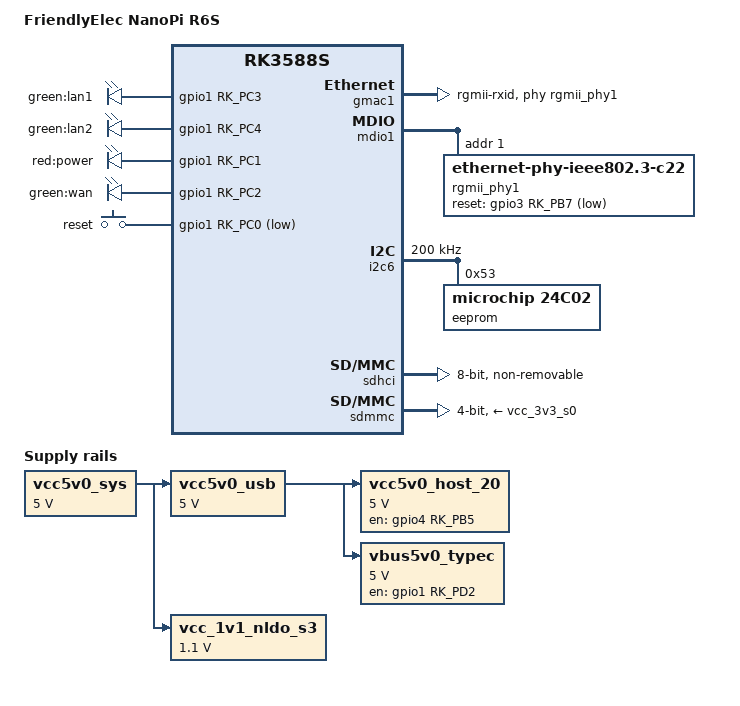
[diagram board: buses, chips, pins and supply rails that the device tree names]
// SPDX-License-Identifier: GPL-2.0-or-later OR MIT
/*
 * Copyright (c) 2021 Rockchip Electronics Co., Ltd.
 *
 * Copyright (c) 2022 FriendlyElec Computer Tech. Co., Ltd.
 * (http://www.friendlyelec.com)
 *
 * Copyright (c) 2023 Tianling Shen <cnsztl@immortalwrt.org>
 */

/dts-v1/;

#include <dt-bindings/gpio/gpio.h>
#include <dt-bindings/input/input.h>
#include <dt-bindings/leds/common.h>
#include <dt-bindings/pinctrl/rockchip.h>
#include "rk3588s.dtsi"
#include "rk3588-rk806-single.dtsi"

/ {
	model = "FriendlyElec NanoPi R6S";
	compatible = "friendlyarm,nanopi-r6s", "rockchip,rk3588s";

	aliases {
		mmc0 = &sdmmc;
		mmc1 = &sdhci;
		ethernet0 = &gmac1;

		led-boot = &power_led;
		led-failsafe = &power_led;
		led-running = &power_led;
		led-upgrade = &power_led;
	};

	chosen {
		stdout-path = "serial2:1500000n8";
	};

	gpio-leds {
		compatible = "gpio-leds";
		pinctrl-names = "default";
		pinctrl-0 = <&lan1_led_pin>, <&lan2_led_pin>, <&power_led_pin>, <&wan_led_pin>;

		led-lan1 {
			label = "green:lan1";
			gpios = <&gpio1 RK_PC3 GPIO_ACTIVE_HIGH>;
		};

		led-lan2 {
			label = "green:lan2";
			gpios = <&gpio1 RK_PC4 GPIO_ACTIVE_HIGH>;
		};

		power_led: led-power {
			label = "red:power";
			gpios = <&gpio1 RK_PC1 GPIO_ACTIVE_HIGH>;
		};

		led-wan {
			label = "green:wan";
			gpios = <&gpio1 RK_PC2 GPIO_ACTIVE_HIGH>;
		};
	};

	gpio-keys {
		compatible = "gpio-keys";
		pinctrl-names = "default";
		pinctrl-0 = <&reset_button_pin>;

		button-reset {
			debounce-interval = <50>;
			gpios = <&gpio1 RK_PC0 GPIO_ACTIVE_LOW>;
			label = "reset";
			linux,code = <KEY_RESTART>;
		};
	};

	vcc5v0_sys: vcc5v0-sys-regulator {
		compatible = "regulator-fixed";
		regulator-name = "vcc5v0_sys";
		regulator-always-on;
		regulator-boot-on;
		regulator-min-microvolt = <5000000>;
		regulator-max-microvolt = <5000000>;
	};

	vcc5v0_usb: vcc5v0-usb-regulator {
		compatible = "regulator-fixed";
		regulator-name = "vcc5v0_usb";
		regulator-always-on;
		regulator-boot-on;
		regulator-min-microvolt = <5000000>;
		regulator-max-microvolt = <5000000>;
		vin-supply = <&vcc5v0_sys>;
	};

	vcc5v0_host_20: vcc5v0-host-20-regulator {
		compatible = "regulator-fixed";
		enable-active-high;
		gpio = <&gpio4 RK_PB5 GPIO_ACTIVE_HIGH>;
		pinctrl-names = "default";
		pinctrl-0 = <&vcc5v0_host20_en>;
		regulator-name = "vcc5v0_host_20";
		regulator-min-microvolt = <5000000>;
		regulator-max-microvolt = <5000000>;
		vin-supply = <&vcc5v0_usb>;
	};

	vbus5v0_typec: vbus5v0-typec-regulator {
		compatible = "regulator-fixed";
		enable-active-high;
		gpio = <&gpio1 RK_PD2 GPIO_ACTIVE_HIGH>;
		pinctrl-names = "default";
		pinctrl-0 = <&vbus5v0_typec_en>;
		regulator-name = "vbus5v0_typec";
		regulator-min-microvolt = <5000000>;
		regulator-max-microvolt = <5000000>;
		vin-supply = <&vcc5v0_usb>;
	};

	vcc_1v1_nldo_s3: vcc-1v1-nldo-s3-regulator {
		compatible = "regulator-fixed";
		regulator-name = "vcc_1v1_nldo_s3";
		regulator-always-on;
		regulator-boot-on;
		regulator-min-microvolt = <1100000>;
		regulator-max-microvolt = <1100000>;
		vin-supply = <&vcc5v0_sys>;
	};
};

&gmac1 {
	clock_in_out = "output";
	phy-handle = <&rgmii_phy1>;
	phy-mode = "rgmii-rxid";
	pinctrl-0 = <&gmac1_miim
		     &gmac1_tx_bus2
		     &gmac1_rx_bus2
		     &gmac1_rgmii_clk
		     &gmac1_rgmii_bus>;
	pinctrl-names = "default";
	tx_delay = <0x42>;
	rx_delay = <0x4f>;
	status = "okay";
};

&mdio1 {
	rgmii_phy1: phy@1 {
		compatible = "ethernet-phy-ieee802.3-c22";
		reg = <1>;
		pinctrl-names = "default";
		pinctrl-0 = <&eth_phy1_reset_pin>;
		reset-assert-us = <10000>;
		reset-deassert-us = <50000>;
		reset-gpios = <&gpio3 RK_PB7 GPIO_ACTIVE_LOW>;
	};
};

&i2c6 {
	clock-frequency = <200000>;
	status = "okay";

	eeprom@53 {
		compatible = "microchip,24c02", "atmel,24c02";
		reg = <0x53>;
		pagesize = <16>;
		size = <256>;
		#address-cells = <2>;
		#size-cells = <0>;

		mac_address: mac-address@fa {
			reg = <0xfa 0x06>;
		};
	};
};

&pinctrl {
	gmac1 {
		eth_phy1_reset_pin: eth-phy1-reset-pin {
			rockchip,pins = <3 RK_PB7 RK_FUNC_GPIO &pcfg_pull_none>;
		};
	};

	gpio-leds {
		lan1_led_pin: lan1-led-pin {
			rockchip,pins = <1 RK_PC3 RK_FUNC_GPIO &pcfg_pull_none>;
		};

		lan2_led_pin: lan2-led-pin {
			rockchip,pins = <1 RK_PC4 RK_FUNC_GPIO &pcfg_pull_none>;
		};

		power_led_pin: power-led-pin {
			rockchip,pins = <1 RK_PC1 RK_FUNC_GPIO &pcfg_pull_none>;
		};

		wan_led_pin: wan-led-pin {
			rockchip,pins = <1 RK_PC2 RK_FUNC_GPIO &pcfg_pull_none>;
		};
	};

	gpio-keys {
		reset_button_pin: reset-button-pin {
			rockchip,pins = <1 RK_PC0 RK_FUNC_GPIO &pcfg_pull_up>;
		};
	};

	usb {
		vcc5v0_host20_en: vcc5v0-host20-en {
			rockchip,pins = <4 RK_PB5 RK_FUNC_GPIO &pcfg_pull_none>;
		};

		vbus5v0_typec_en: vbus5v0-typec-en {
			rockchip,pins = <1 RK_PD2 RK_FUNC_GPIO &pcfg_pull_none>;
		};
	};
};

&sdhci {
	bus-width = <8>;
	no-sdio;
	no-sd;
	non-removable;
	max-frequency = <200000000>;
	mmc-hs400-1_8v;
	mmc-hs400-enhanced-strobe;
	status = "okay";
};

&sdmmc {
	max-frequency = <150000000>;
	no-sdio;
	no-mmc;
	bus-width = <4>;
	cap-mmc-highspeed;
	cap-sd-highspeed;
	disable-wp;
	vmmc-supply = <&vcc_3v3_s0>;
	vqmmc-supply = <&vccio_sd_s0>;
	pinctrl-names = "default";
	pinctrl-0 = <&sdmmc_bus4 &sdmmc_clk &sdmmc_cmd &sdmmc_det>;
	status = "okay";
};
